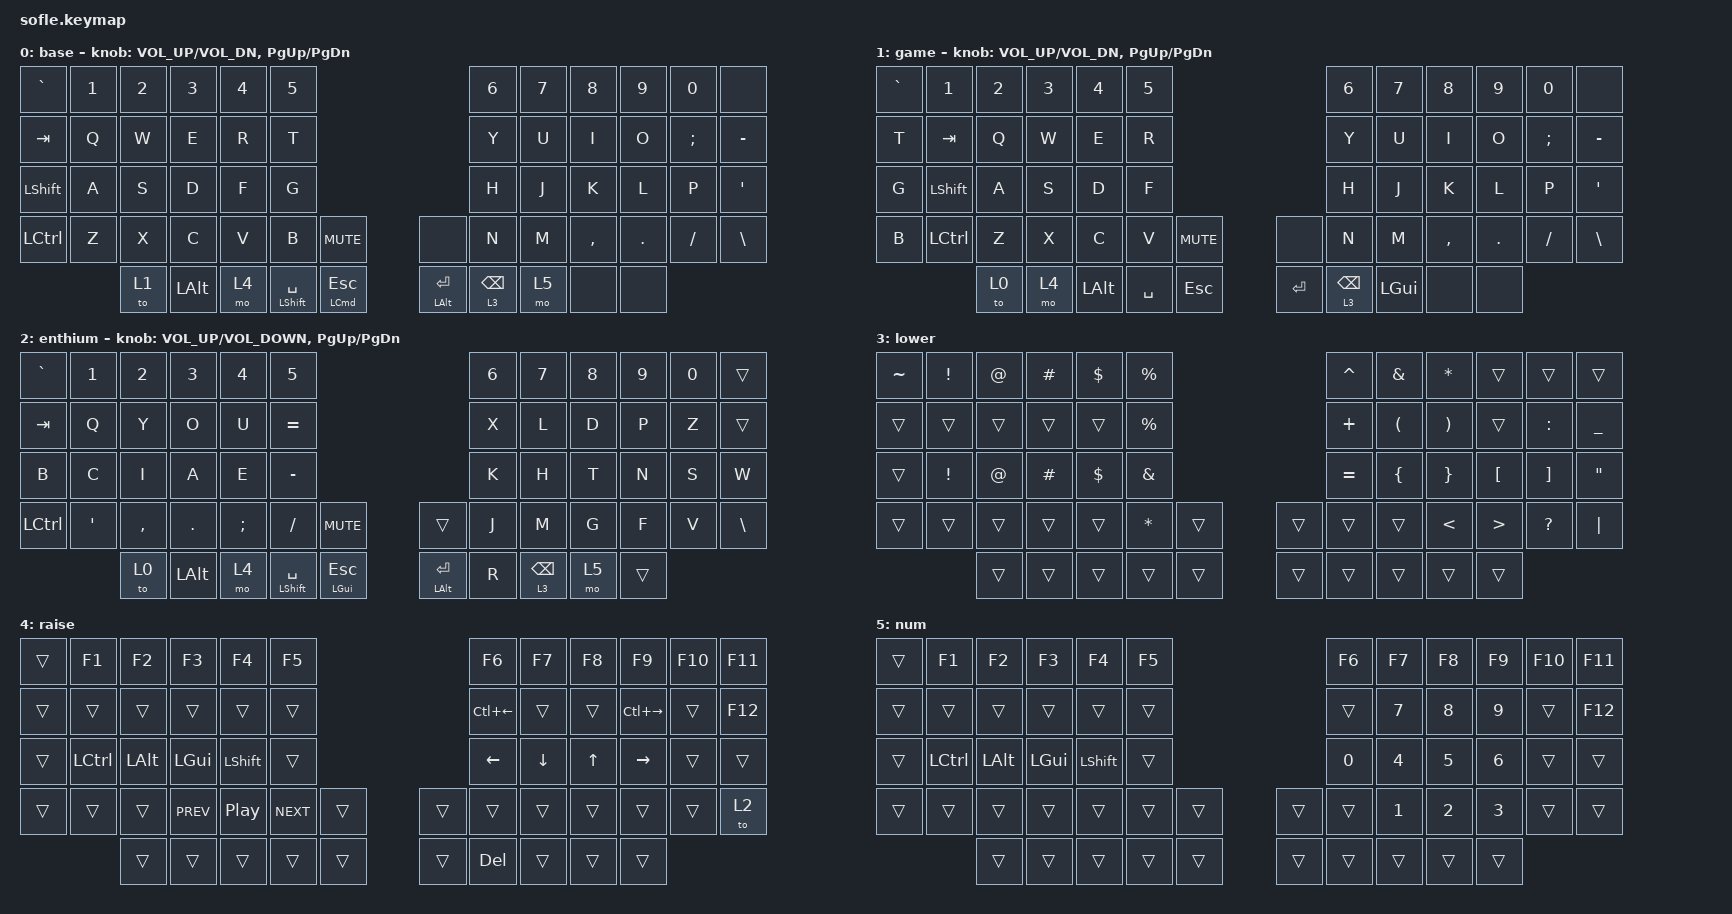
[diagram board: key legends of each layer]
/*
 * Copyright (c) 2020 The ZMK Contributors
 *
 * SPDX-License-Identifier: MIT
 */

#include <behaviors.dtsi>
#include <dt-bindings/zmk/keys.h>

#define BASE 0
#define LOWER 1
#define RAISE 2
#define ADJUST 3

/ {
    // Activate ADJUST layer by pressing raise and lower

    conditional_layers { compatible = "zmk,conditional-layers"; };

    combos {
        compatible = "zmk,combos";

        esc_combo {
            bindings = <&kp ESC>;
            key-positions = <1 0>;
        };

        enter_combo {
            bindings = <&kp ENTER>;
            key-positions = <34 35>;
        };

        win_screenshot {
            bindings = <&kp LG(LS(S))>;
            key-positions = <26 27 28 25>;
        };

        mac_screenshot {
            bindings = <&kp LG(LS(NUMBER_4))>;
            key-positions = <31 32 33 34>;
        };

        bksp_combo {
            bindings = <&kp BACKSPACE>;
            key-positions = <10 11>;
        };
    };

    macros {
        fat_arrow: fat_arrow {
            compatible = "zmk,behavior-macro";
            #binding-cells = <0>;
            bindings = <&kp EQUAL &kp GT>;
            label = "FAT_ARROW";
        };

        small_arrow: small_arrow {
            compatible = "zmk,behavior-macro";
            #binding-cells = <0>;
            bindings = <&kp MINUS &kp GT>;
            label = "SMALL_ARROW";
        };
    };

    behaviors {
        mt_balance: mt_balance {
            compatible = "zmk,behavior-hold-tap";
            label = "balanced flavor mod tap";
            bindings = <&kp>, <&kp>;

            #binding-cells = <2>;
            flavor = "balanced";
            tapping-term-ms = <200>;
        };

        mt_tap: mt_tap {
            compatible = "zmk,behavior-hold-tap";
            label = "tap preferred flavor mod tap";
            bindings = <&kp>, <&kp>;

            #binding-cells = <2>;
            tapping-term-ms = <200>;
            flavor = "tap-preferred";
        };

        hm_shift_r: hm_shift_r {
            compatible = "zmk,behavior-hold-tap";
            label = "HM_SHIFT_R";
            bindings = <&kp>, <&kp>;

            #binding-cells = <2>;
            tapping-term-ms = <200>;
            hold-while-undecided;
            hold-trigger-key-positions = <0 1 2 3 4 5 12 13 14 15 16 17 24 25 26 27 28 29 36 37 38 39 40 41 42 50 51 52 53 54>;
            hold-trigger-on-release;
        };

        hm_shift_l: hm_shift_l {
            compatible = "zmk,behavior-hold-tap";
            label = "HM_SHIFT_L";
            bindings = <&kp>, <&kp>;

            #binding-cells = <2>;
            tapping-term-ms = <200>;
            hold-while-undecided;
            hold-trigger-on-release;
            hold-trigger-key-positions = <6 7 8 9 10 11 18 19 20 21 22 23 30 31 32 33 34 35 43 44 45 46 47 48 49 55 56 57 58 59>;
        };

        hm_r: hm_r {
            compatible = "zmk,behavior-hold-tap";
            label = "HM_R";
            bindings = <&kp>, <&kp>;

            #binding-cells = <2>;
            tapping-term-ms = <200>;
            hold-while-undecided;
            hold-trigger-key-positions = <0 1 2 3 4 5 12 13 14 15 16 17 24 25 26 27 28 29 36 37 38 39 40 41 42 50 51 52 53 54>;
            hold-trigger-on-release;
            flavor = "tap-preferred";
            require-prior-idle-ms = <200>;
        };

        hm_l: hm_l {
            compatible = "zmk,behavior-hold-tap";
            label = "HM_L";
            bindings = <&kp>, <&kp>;

            #binding-cells = <2>;
            tapping-term-ms = <200>;
            hold-while-undecided;
            hold-trigger-on-release;
            hold-trigger-key-positions = <6 7 8 9 10 11 18 19 20 21 22 23 30 31 32 33 34 35 43 44 45 46 47 48 49 55 56 57 58 59>;
            flavor = "tap-preferred";
            require-prior-idle-ms = <200>;
        };

        lt_repeat: lt_repeat {
            compatible = "zmk,behavior-hold-tap";
            label = "LT_REPEAT";
            bindings = <&mo>, <&kp>;

            #binding-cells = <2>;
            tapping-term-ms = <200>;
            flavor = "balanced";
            quick-tap-ms = <200>;
        };
    };

    keymap {
        compatible = "zmk,keymap";

        base {
            display-name = "base";

            // ------------------------------------------------------------------------------------------------------------
            // |   `   |  1  |  2  |  3   |  4   |  5   |                   |  6   |  7    |  8    |  9   |   0   |       |
            // |  ESC  |  Q  |  W  |  E   |  R   |  T   |                   |  Y   |  U    |  I    |  O   |   P   | BKSPC |
            // |  TAB  |  A  |  S  |  D   |  F   |  G   |                   |  H   |  J    |  K    |  L   |   ;   |   '   |
            // | SHIFT |  Z  |  X  |  C   |  V   |  B   |  MUTE  |  |       |  N   |  M    |  ,    |  .   |   /   | SHIFT |
            //               | GUI | ALT  | CTRL | LOWER|  ENTER |  | SPACE | RAISE| CTRL  | ALT   | GUI  |

            bindings = <
&kp GRAVE       &kp N1  &kp N2  &kp N3        &kp N4  &kp N5                                                                    &kp N6                  &kp N7  &kp N8     &kp N9   &kp N0         &none
&kp TAB         &kp Q   &kp W   &kp E         &kp R   &kp T                                                                     &kp Y                   &kp U   &kp I      &kp O    &kp SEMICOLON  &kp MINUS
&kp LEFT_SHIFT  &kp A   &kp S   &kp D         &kp F   &kp G                                                                     &kp H                   &kp J   &kp K      &kp L    &kp P          &kp SQT
&kp LCTRL       &kp Z   &kp X   &kp C         &kp V   &kp B                     &kp C_MUTE              &none                   &kp N                   &kp M   &kp COMMA  &kp DOT  &kp FSLH       &kp BACKSLASH
                        &to 1   &kp LEFT_ALT  &mo 4   &mt_balance LSHIFT SPACE  &mt_balance LCMD ESC    &mt_balance LALT ENTER  &lt_repeat 3 BACKSPACE  &mo 5   &none      &none
            >;

            sensor-bindings = <&inc_dec_kp C_VOL_UP C_VOL_DN &inc_dec_kp PG_UP PG_DN>;
            label = "base";
        };

        game {
            label = "game";
            display-name = "game";
            bindings = <
&kp GRAVE  &kp N1     &kp N2  &kp N3  &kp N4    &kp N5                              &kp N6           &kp N7        &kp N8     &kp N9   &kp N0    &none
&kp T      &kp TAB    &kp Q   &kp W   &kp E     &kp R                               &kp Y            &kp U         &kp I      &kp O    &kp SEMI  &kp MINUS
&kp G      &kp LSHFT  &kp A   &kp S   &kp D     &kp F                               &kp H            &kp J         &kp K      &kp L    &kp P     &kp SQT
&kp B      &kp LCTRL  &kp Z   &kp X   &kp C     &kp V      &kp C_MUTE    &none      &kp N            &kp M         &kp COMMA  &kp DOT  &kp FSLH  &kp BACKSLASH
                      &to 0   &mo 4   &kp LALT  &kp SPACE  &kp ESCAPE    &kp ENTER  &lt 3 BACKSPACE  &kp LEFT_GUI  &none      &none
            >;

            sensor-bindings =
                <&inc_dec_kp C_VOL_UP C_VOL_DN>,
                <&inc_dec_kp PG_UP PG_DN>;
        };

        enthium {
            bindings = <
&kp GRAVE  &kp N1    &kp N2     &kp N3    &kp N4    &kp N5                                                                        &kp N6  &kp N7                  &kp N8  &kp N9  &kp N0  &trans
&kp TAB    &kp Q     &kp Y      &kp O     &kp U     &kp EQUAL                                                                     &kp X   &kp L                   &kp D   &kp P   &kp Z   &trans
&kp B      &kp C     &kp I      &kp A     &kp E     &kp MINUS                                                                     &kp K   &kp H                   &kp T   &kp N   &kp S   &kp W
&kp LCTRL  &kp APOS  &kp COMMA  &kp DOT   &kp SEMI  &kp FSLH                      &kp K_MUTE                  &trans              &kp J   &kp M                   &kp G   &kp F   &kp V   &kp BSLH
                     &to 0      &kp LALT  &mo 4     &mt_balance LEFT_SHIFT SPACE  &mt_balance LEFT_GUI ESC    &mt LEFT_ALT ENTER  &kp R   &lt_repeat 3 BACKSPACE  &mo 5   &trans
            >;

            sensor-bindings =
                <&inc_dec_kp C_VOLUME_UP C_VOLUME_DOWN>,
                <&inc_dec_kp PG_UP PG_DN>;
        };

        lower {
            bindings = <
&kp TILDE  &kp EXCL  &kp AT       &kp POUND  &kp DOLLAR  &kp PERCENT                    &kp CARET  &kp AMPERSAND         &kp ASTERISK           &trans            &trans             &trans
&trans     &trans    &trans       &trans     &trans      &kp PERCENT                    &kp PLUS   &kp LEFT_PARENTHESIS  &kp RIGHT_PARENTHESIS  &trans            &kp COLON          &kp UNDER
&trans     &kp EXCL  &kp AT_SIGN  &kp HASH   &kp DOLLAR  &kp AMPS                       &kp EQUAL  &kp LEFT_BRACE        &kp RIGHT_BRACE        &kp LEFT_BRACKET  &kp RIGHT_BRACKET  &kp DOUBLE_QUOTES
&trans     &trans    &trans       &trans     &trans      &kp STAR     &trans    &trans  &trans     &trans                &kp LT                 &kp GT            &kp QUESTION       &kp PIPE
                     &trans       &trans     &trans      &trans       &trans    &trans  &trans     &trans                &trans                 &trans
            >;

            label = "lower";
        };

        raise {
            bindings = <
&trans  &kp F1     &kp F2        &kp F3        &kp F4            &kp F5                        &kp F6        &kp F7    &kp F8  &kp F9         &kp F10  &kp F11
&trans  &trans     &trans        &trans        &trans            &trans                        &kp LC(LEFT)  &trans    &trans  &kp LC(RIGHT)  &trans   &kp F12
&trans  &kp LCTRL  &kp LEFT_ALT  &kp LEFT_GUI  &kp LEFT_SHIFT    &trans                        &kp LEFT      &kp DOWN  &kp UP  &kp RIGHT      &trans   &trans
&trans  &trans     &trans        &kp C_PREV    &kp C_PLAY_PAUSE  &kp C_NEXT  &trans    &trans  &trans        &trans    &trans  &trans         &trans   &to 2
                   &trans        &trans        &trans            &trans      &trans    &trans  &kp DELETE    &trans    &trans  &trans
            >;

            label = "raise";
        };

        num {
            label = "num";
            bindings = <
&trans  &kp F1     &kp F2        &kp F3        &kp F4          &kp F5                    &kp F6  &kp F7  &kp F8  &kp F9  &kp F10  &kp F11
&trans  &trans     &trans        &trans        &trans          &trans                    &trans  &kp N7  &kp N8  &kp N9  &trans   &kp F12
&trans  &kp LCTRL  &kp LEFT_ALT  &kp LEFT_GUI  &kp LEFT_SHIFT  &trans                    &kp N0  &kp N4  &kp N5  &kp N6  &trans   &trans
&trans  &trans     &trans        &trans        &trans          &trans  &trans    &trans  &trans  &kp N1  &kp N2  &kp N3  &trans   &trans
                   &trans        &trans        &trans          &trans  &trans    &trans  &trans  &trans  &trans  &trans
            >;
        };
    };
};
